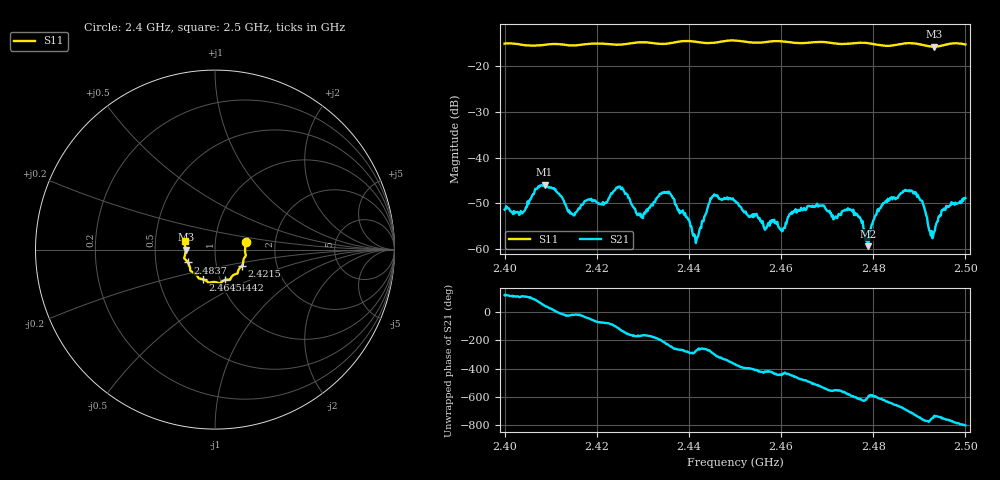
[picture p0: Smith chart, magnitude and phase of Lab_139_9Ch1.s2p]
# Hz S RI R 50
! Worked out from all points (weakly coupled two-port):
!   601 points, 2.4 GHz to 2.5 GHz, reference 50 ohm
!   highest |S21| = -45.91 dB at 2.4087 GHz (marker M1); lowest = -59.4 dB at 2.4788 GHz (marker M2)
!   lowest |S11| = -15.7 dB at 2.4932 GHz (marker M3), VSWR 1.39, Z = 36 - j0.0468 ohm
!   |S11| at or under -10 dB: start of sweep to end of sweep
!   S12 and S22 are empty: the file has one direction only
!   S11 on the Smith chart (normalised r, x): 2.4 GHz: 1.41, +0.12; 2.4215 GHz: 1.33, -0.25; 2.4442 GHz: 1.05, -0.37; 2.4645 GHz: 0.83, -0.29; 2.4837 GHz: 0.73, -0.11; 2.5 GHz: 0.71, +0.07
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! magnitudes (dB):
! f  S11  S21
! 2.4 GHz  -15.1  -51.4
! 2.4037 GHz  -15.3  -52.0
! 2.4087 GHz  -15.3  -45.9
! 2.4167 GHz  -15.3  -50.3
! 2.4215 GHz  -15.1  -50.3
! 2.4252 GHz  -15.3  -46.7
! 2.4295 GHz  -14.8  -52.3
! 2.4333 GHz  -15.1  -48.5
! 2.4362 GHz  -14.9  -48.3
! 2.4415 GHz  -14.7  -58.7
! 2.4442 GHz  -15.0  -50.6
! 2.45 GHz  -14.4  -49.6
! 2.46 GHz  -14.6  -55.6
! 2.4645 GHz  -15.0  -51.4
! 2.4667 GHz  -14.8  -50.8
! 2.4752 GHz  -15.1  -51.5
! 2.4788 GHz  -15.0  -59.4
! 2.4833 GHz  -15.6  -49.4
! 2.4837 GHz  -15.5  -48.8
! 2.4888 GHz  -15.0  -47.6
! 2.4932 GHz  -15.7  -56.3
! 2.5 GHz  -15.2  -48.8
